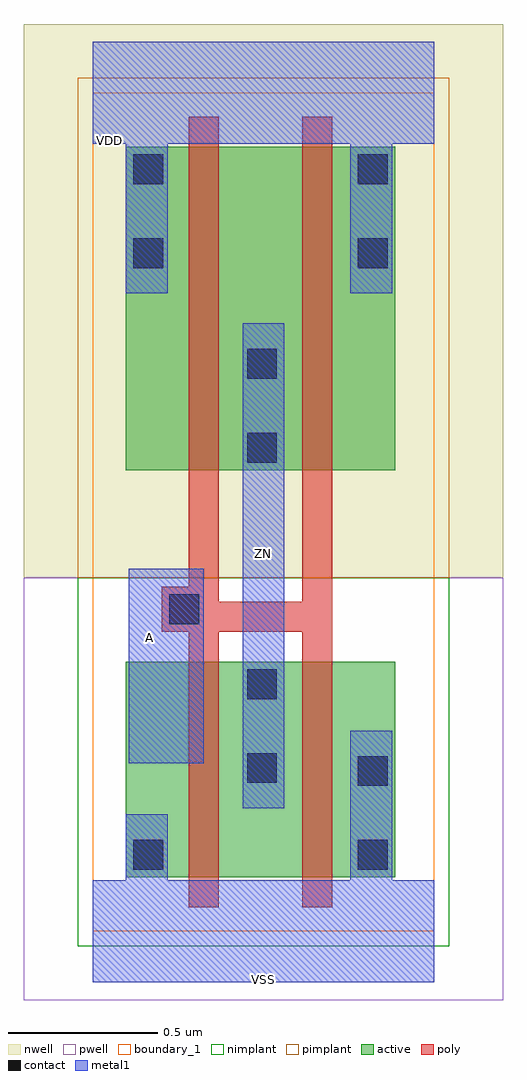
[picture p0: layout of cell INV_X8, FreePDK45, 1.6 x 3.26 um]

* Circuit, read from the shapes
.subckt INV_X8 A VDD VSS ZN
M1 ZN A VSS VSUBS nfet w=0.72u l=0.1u m=2
M2 ZN A VDD n1 pfet w=1.08u l=0.1u m=2
.ends

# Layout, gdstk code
import gdstk
lib = gdstk.Library(unit=1e-6, precision=1e-09)
def R(c, l, rs):  # rectangles x0, y0, x1, y1
    for r in rs: c.add(gdstk.rectangle(r[:2], r[2:], *l))
def P(c, l, *ps):  # polygons
    for p in ps: c.add(gdstk.Polygon(p, *l))
active = (1, 0)
pwell = (2, 0)
nwell = (3, 0)
nimplant = (4, 0)
pimplant = (5, 0)
poly = (9, 0)
contact = (10, 0)
metal1 = (11, 0)
boundary_1 = (235, 1)

inv_x8 = lib.new_cell('INV_X8')
R(inv_x8, active, [(0.11,0.18,1.01,0.9), (0.11,1.54,1.01,2.62)])
R(inv_x8, pwell, [(-0.23,-0.23,1.37,1.18)])
R(inv_x8, nwell, [(-0.23,1.18,1.37,3.03)])
R(inv_x8, nimplant, [(-0.05,-0.05,1.19,1.18)])
R(inv_x8, pimplant, [(-0.05,1.18,1.19,2.85)])
P(inv_x8, poly, [(0.23,1),(0.32,1),(0.32,0.08),(0.42,0.08),(0.42,1),(0.7,1),(0.7,0.08),(0.8,0.08),(0.8,2.72),(0.7,2.72),(0.7,1.1),(0.42,1.1),(0.42,2.72),(0.32,2.72),(0.32,1.15),(0.23,1.15)])
R(inv_x8, contact, [(0.135,0.205,0.235,0.305), (0.885,0.205,0.985,0.305), (0.885,0.485,0.985,0.585), (0.515,0.495,0.615,0.595), (0.515,0.775,0.615,0.875), (0.255,1.025,0.355,1.125), (0.515,1.565,0.615,1.665), (0.515,1.845,0.615,1.945), (0.135,2.215,0.235,2.315), (0.885,2.215,0.985,2.315), (0.135,2.495,0.235,2.595), (0.885,2.495,0.985,2.595)])
R(inv_x8, metal1, [(0.5,0.41,0.64,2.03), (0.5,0.41,0.64,2.03), (0.12,0.56,0.37,1.21), (0.12,0.56,0.37,1.21)])
P(inv_x8, metal1, [(0,-0.17),(1.14,-0.17),(1.14,0.17),(1,0.17),(1,0.67),(0.86,0.67),(0.86,0.17),(0.25,0.17),(0.25,0.39),(0.11,0.39),(0.11,0.17),(0,0.17)],
  [(0,2.63),(0.11,2.63),(0.11,2.13),(0.25,2.13),(0.25,2.63),(0.86,2.63),(0.86,2.13),(1,2.13),(1,2.63),(1.14,2.63),(1.14,2.97),(0,2.97)],
  [(0,2.63),(0.11,2.63),(0.11,2.13),(0.25,2.13),(0.25,2.63),(0.86,2.63),(0.86,2.13),(1,2.13),(1,2.63),(1.14,2.63),(1.14,2.97),(0,2.97)],
  [(0,-0.17),(1.14,-0.17),(1.14,0.17),(1,0.17),(1,0.67),(0.86,0.67),(0.86,0.17),(0.25,0.17),(0.25,0.39),(0.11,0.39),(0.11,0.17),(0,0.17)])
R(inv_x8, boundary_1, [(0,0,1.14,2.8)])
inv_x8.add(gdstk.Label('ZN', (0.57,1.26), layer=11, texttype=0))
inv_x8.add(gdstk.Label('VSS', (0.57,-0.16), layer=11, texttype=0))
inv_x8.add(gdstk.Label('VDD', (0.055,2.64), layer=11, texttype=0))
inv_x8.add(gdstk.Label('A', (0.19,0.98), layer=11, texttype=0))

lib.write_gds('INV_X8.gds')
